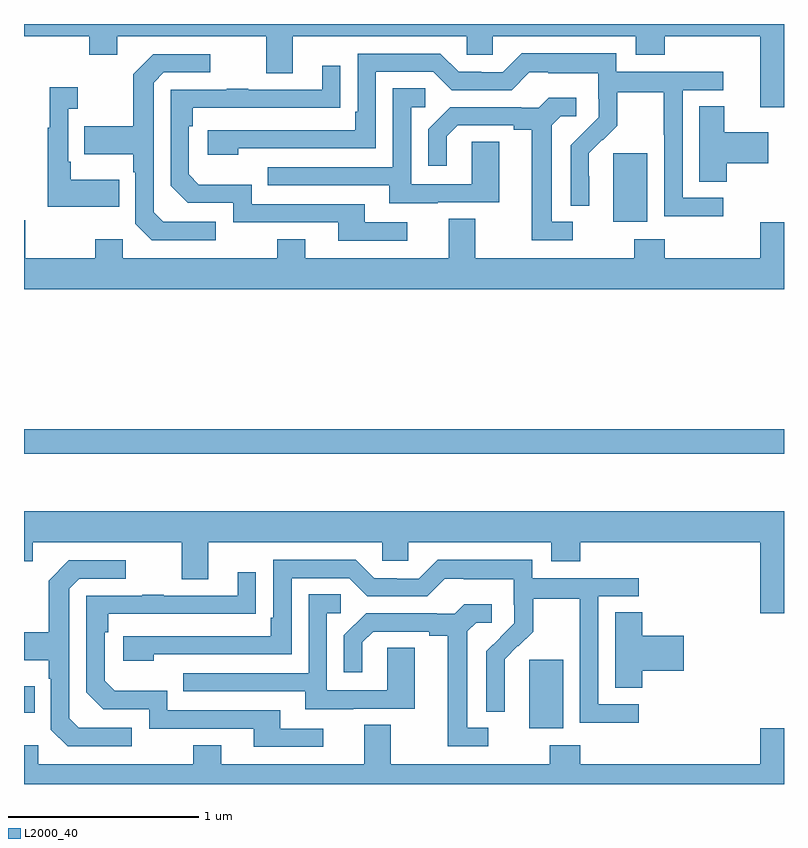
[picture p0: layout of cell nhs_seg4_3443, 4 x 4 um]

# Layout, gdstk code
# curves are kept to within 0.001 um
import gdstk
lib = gdstk.Library(unit=1e-6, precision=1e-09)
def R(c, l, rs):  # rectangles x0, y0, x1, y1
    for r in rs: c.add(gdstk.rectangle(r[:2], r[2:], *l))
def P(c, l, *ps):  # polygons
    for p in ps: c.add(gdstk.Polygon(p, *l))
L2000_40 = (2000, 40)

nhs_seg4_3443 = lib.new_cell('nhs_seg4_3443')
R(nhs_seg4_3443, L2000_40, [(295.658,777.194,295.837,777.555), (293,777.275,293.057,777.415), (293,778.638,297,778.766), (296.102,779.858,296.281,780.219)])
P(nhs_seg4_3443, L2000_40, [(293,780.836),(293.344,780.836),(293.344,780.737),(293.491,780.737),(293.491,780.836),(294.275,780.836),(294.275,780.642),(294.415,780.642),(294.415,780.836),(295.329,780.836),(295.329,780.738),(295.467,780.738),(295.467,780.836),(296.219,780.836),(296.219,780.737),(296.372,780.737),(296.372,780.836),(296.876,780.836),(296.876,780.462),(297,780.462),(297,780.9),(293,780.9)],
  [(296.68,779.985),(296.466,779.985),(296.466,780.552),(296.68,780.552),(296.68,780.648),(296.118,780.648),(296.118,780.745),(295.621,780.745),(295.521,780.645),(295.406,780.645),(295.406,780.648),(295.287,780.648),(295.191,780.744),(294.756,780.744),(294.756,780.439),(294.743,780.439),(294.743,780.342),(293.967,780.342),(293.967,780.212),(294.128,780.212),(294.128,780.246),(294.852,780.246),(294.852,780.648),(295.155,780.648),(295.251,780.552),(295.566,780.552),(295.659,780.645),(295.759,780.645),(295.759,780.641),(296.022,780.641),(296.022,780.507),(296.024,780.507),(296.024,780.41),(295.878,780.262),(295.878,779.944),(295.974,779.944),(295.973,780.221),(296.043,780.291),(296.046,780.288),(296.123,780.365),(296.123,780.54),(296.368,780.54),(296.368,780.316),(296.37,780.316),(296.37,779.887),(296.68,779.887)],
  [(294.01,779.859),(293.733,779.859),(293.682,779.91),(293.682,780.591),(293.736,780.645),(293.98,780.645),(293.98,780.741),(293.679,780.741),(293.574,780.635),(293.574,780.363),(293.317,780.363),(293.317,780.215),(293.574,780.215),(293.574,780.119),(293.586,780.119),(293.586,779.85),(293.673,779.763),(294.01,779.763)],
  [(295.018,779.856),(294.793,779.856),(294.793,779.952),(294.198,779.952),(294.198,780.055),(293.921,780.055),(293.868,780.108),(293.868,780.362),(293.888,780.362),(293.888,780.459),(294.665,780.46),(294.665,780.679),(294.569,780.679),(294.569,780.555),(294.179,780.555),(294.179,780.56),(294.067,780.56),(294.067,780.555),(293.772,780.555),(293.772,780.048),(293.862,779.958),(294.102,779.958),(294.102,779.856),(294.653,779.856),(294.653,779.76),(295.018,779.76)],
  [(293.501,780.079),(293.245,780.079),(293.245,780.175),(293.232,780.175),(293.232,780.455),(293.284,780.455),(293.284,780.568),(293.135,780.568),(293.135,780.355),(293.124,780.355),(293.124,779.939),(293.501,779.939)],
  [(295.177,779.961),(295.501,779.961),(295.501,780.281),(295.356,780.281),(295.356,780.057),(295.038,780.057),(295.038,780.462),(295.111,780.462),(295.111,780.563),(294.942,780.563),(294.942,780.147),(294.283,780.147),(294.283,780.051),(294.923,780.051),(294.923,779.957),(295.177,779.957)],
  [(295.888,779.859),(295.777,779.859),(295.777,780.367),(295.824,780.414),(295.906,780.414),(295.906,780.511),(295.762,780.511),(295.71,780.459),(295.616,780.459),(295.616,780.462),(295.244,780.462),(295.128,780.346),(295.128,780.153),(295.225,780.153),(295.225,780.309),(295.282,780.366),(295.577,780.366),(295.577,780.344),(295.673,780.344),(295.673,779.763),(295.888,779.763)],
  [(296.699,780.166),(296.917,780.166),(296.917,780.331),(296.686,780.331),(296.686,780.467),(296.555,780.467),(296.555,780.07),(296.699,780.07)],
  [(297,779.857),(296.876,779.857),(296.876,779.668),(296.372,779.668),(296.372,779.767),(296.212,779.767),(296.212,779.668),(295.375,779.668),(295.375,779.876),(295.235,779.876),(295.235,779.668),(294.481,779.668),(294.481,779.767),(294.334,779.767),(294.334,779.668),(293.52,779.668),(293.52,779.767),(293.374,779.767),(293.374,779.668),(293.007,779.668),(293.007,779.867),(293,779.867),(293,779.504),(297,779.504)],
  [(297,778.336),(293,778.336),(293,778.073),(293.047,778.073),(293.047,778.172),(293.831,778.172),(293.831,777.978),(293.971,777.978),(293.971,778.172),(294.885,778.172),(294.885,778.074),(295.023,778.074),(295.023,778.172),(295.775,778.172),(295.775,778.073),(295.928,778.073),(295.928,778.172),(296.876,778.172),(296.876,777.798),(297,777.798)],
  [(296.236,777.321),(296.022,777.321),(296.022,777.888),(296.236,777.888),(296.236,777.984),(295.674,777.984),(295.674,778.081),(295.177,778.081),(295.077,777.981),(294.962,777.981),(294.962,777.984),(294.843,777.984),(294.747,778.08),(294.312,778.08),(294.312,777.775),(294.299,777.775),(294.299,777.678),(293.523,777.678),(293.523,777.548),(293.684,777.548),(293.684,777.582),(294.408,777.582),(294.408,777.984),(294.711,777.984),(294.807,777.888),(295.122,777.888),(295.215,777.981),(295.315,777.981),(295.315,777.977),(295.578,777.977),(295.578,777.843),(295.58,777.843),(295.58,777.746),(295.434,777.598),(295.434,777.28),(295.53,777.28),(295.529,777.557),(295.599,777.627),(295.602,777.624),(295.679,777.701),(295.679,777.876),(295.924,777.876),(295.924,777.652),(295.926,777.652),(295.926,777.223),(296.236,777.223)],
  [(293.566,777.195),(293.289,777.195),(293.238,777.246),(293.238,777.927),(293.292,777.981),(293.536,777.981),(293.536,778.077),(293.235,778.077),(293.13,777.971),(293.13,777.699),(293,777.699),(293,777.551),(293.13,777.551),(293.13,777.455),(293.142,777.455),(293.142,777.186),(293.229,777.099),(293.566,777.099)],
  [(294.574,777.192),(294.349,777.192),(294.349,777.288),(293.754,777.288),(293.754,777.391),(293.477,777.391),(293.424,777.444),(293.424,777.698),(293.444,777.698),(293.444,777.795),(294.221,777.796),(294.221,778.015),(294.125,778.015),(294.125,777.891),(293.735,777.891),(293.735,777.896),(293.623,777.896),(293.623,777.891),(293.328,777.891),(293.328,777.384),(293.418,777.294),(293.658,777.294),(293.658,777.192),(294.209,777.192),(294.209,777.096),(294.574,777.096)],
  [(294.733,777.297),(295.057,777.297),(295.057,777.617),(294.912,777.617),(294.912,777.393),(294.594,777.393),(294.594,777.798),(294.667,777.798),(294.667,777.899),(294.498,777.899),(294.498,777.483),(293.839,777.483),(293.839,777.387),(294.479,777.387),(294.479,777.293),(294.733,777.293)],
  [(295.444,777.195),(295.333,777.195),(295.333,777.703),(295.38,777.75),(295.462,777.75),(295.462,777.847),(295.318,777.847),(295.266,777.795),(295.172,777.795),(295.172,777.798),(294.8,777.798),(294.684,777.682),(294.684,777.489),(294.781,777.489),(294.781,777.645),(294.838,777.702),(295.133,777.702),(295.133,777.68),(295.229,777.68),(295.229,777.099),(295.444,777.099)],
  [(296.255,777.497),(296.473,777.497),(296.473,777.68),(296.255,777.68),(296.255,777.803),(296.111,777.803),(296.111,777.406),(296.255,777.406)],
  [(294.791,777.212),(294.791,777.004),(294.037,777.004),(294.037,777.103),(293.89,777.103),(293.89,777.004),(293.076,777.004),(293.076,777.103),(293,777.103),(293,776.9),(297,776.9),(297,777.193),(296.876,777.193),(296.876,777.004),(295.928,777.004),(295.928,777.103),(295.768,777.103),(295.768,777.004),(294.931,777.004),(294.931,777.212)])

lib.write_gds('nhs_seg4_3443.gds')
